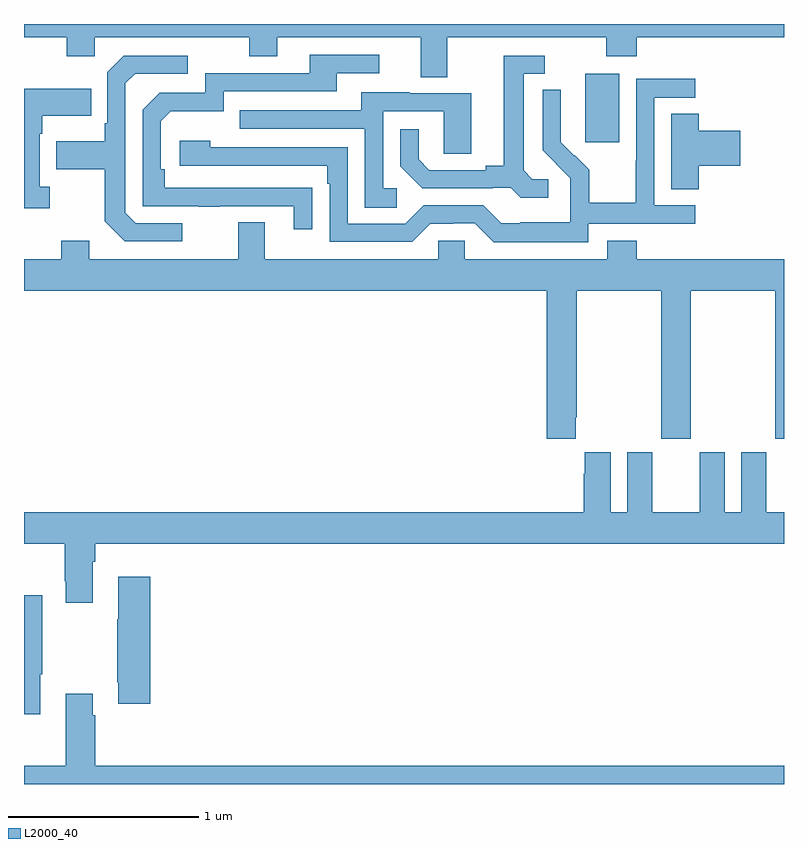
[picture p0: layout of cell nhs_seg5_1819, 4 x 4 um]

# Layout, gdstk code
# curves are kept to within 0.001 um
import gdstk
lib = gdstk.Library(unit=1e-6, precision=1e-09)
def R(c, l, rs):  # rectangles x0, y0, x1, y1
    for r in rs: c.add(gdstk.rectangle(r[:2], r[2:], *l))
def P(c, l, *ps):  # polygons
    for p in ps: c.add(gdstk.Polygon(p, *l))
L2000_40 = (2000, 40)

nhs_seg5_1819 = lib.new_cell('nhs_seg5_1819')
R(nhs_seg5_1819, L2000_40, [(221.954,888.177,222.133,888.538)])
P(nhs_seg5_1819, L2000_40, [(221.227,888.728),(222.064,888.728),(222.064,888.629),(222.224,888.629),(222.224,888.728),(223,888.728),(223,888.799),(219,888.799),(219,888.728),(219.226,888.728),(219.226,888.629),(219.372,888.629),(219.372,888.728),(220.186,888.728),(220.186,888.629),(220.333,888.629),(220.333,888.728),(221.087,888.728),(221.087,888.52),(221.227,888.52)],
  [(220.517,887.936),(219.74,887.937),(219.74,888.034),(219.72,888.034),(219.72,888.288),(219.773,888.341),(220.05,888.341),(220.05,888.444),(220.645,888.444),(220.645,888.54),(220.87,888.54),(220.87,888.636),(220.505,888.636),(220.505,888.54),(219.954,888.54),(219.954,888.438),(219.714,888.438),(219.624,888.348),(219.624,887.841),(219.919,887.841),(219.919,887.836),(220.031,887.836),(220.031,887.841),(220.421,887.841),(220.421,887.718),(220.517,887.718)],
  [(221.758,887.982),(221.676,887.982),(221.629,888.029),(221.629,888.537),(221.74,888.537),(221.74,888.633),(221.525,888.633),(221.525,888.053),(221.429,888.053),(221.429,888.03),(221.134,888.03),(221.077,888.087),(221.077,888.244),(220.98,888.244),(220.98,888.05),(221.096,887.934),(221.468,887.934),(221.468,887.937),(221.562,887.937),(221.614,887.885),(221.758,887.885)],
  [(219.832,887.751),(219.588,887.751),(219.534,887.805),(219.534,888.486),(219.585,888.537),(219.862,888.537),(219.862,888.633),(219.525,888.633),(219.438,888.546),(219.438,888.277),(219.426,888.277),(219.426,888.181),(219.169,888.181),(219.169,888.034),(219.426,888.034),(219.426,887.761),(219.531,887.655),(219.832,887.655)],
  [(221.97,887.748),(222.532,887.748),(222.532,887.844),(222.318,887.844),(222.318,888.411),(222.532,888.411),(222.532,888.51),(222.222,888.51),(222.222,888.08),(222.22,888.08),(222.22,887.857),(221.975,887.857),(221.975,888.031),(221.898,888.108),(221.895,888.105),(221.825,888.176),(221.826,888.452),(221.73,888.452),(221.73,888.134),(221.876,887.986),(221.876,887.889),(221.874,887.889),(221.874,887.755),(221.611,887.755),(221.611,887.751),(221.511,887.751),(221.418,887.844),(221.103,887.844),(221.007,887.748),(220.704,887.748),(220.704,888.15),(219.98,888.15),(219.98,888.184),(219.819,888.184),(219.819,888.054),(220.595,888.054),(220.595,887.957),(220.608,887.957),(220.608,887.652),(221.043,887.652),(221.139,887.748),(221.258,887.748),(221.258,887.751),(221.373,887.751),(221.473,887.651),(221.97,887.651)],
  [(219.136,887.942),(219.084,887.942),(219.084,888.221),(219.097,888.221),(219.097,888.317),(219.353,888.317),(219.353,888.457),(219,888.457),(219,887.829),(219.136,887.829)],
  [(220.963,887.934),(220.89,887.934),(220.89,888.339),(221.208,888.339),(221.208,888.115),(221.353,888.115),(221.353,888.435),(221.029,888.435),(221.029,888.439),(220.775,888.439),(220.775,888.345),(220.135,888.345),(220.135,888.249),(220.794,888.249),(220.794,887.833),(220.963,887.833)],
  [(222.551,888.053),(222.769,888.053),(222.769,888.236),(222.551,888.236),(222.551,888.326),(222.407,888.326),(222.407,887.929),(222.551,887.929)],
  [(221.905,886.729),(221.91,886.729),(221.91,887.396),(222.355,887.396),(222.355,886.617),(222.51,886.617),(222.51,887.396),(222.955,887.396),(222.955,886.617),(223,886.617),(223,887.56),(222.224,887.56),(222.224,887.659),(222.071,887.659),(222.071,887.56),(221.319,887.56),(221.319,887.658),(221.181,887.658),(221.181,887.56),(220.267,887.56),(220.267,887.755),(220.127,887.755),(220.127,887.56),(219.343,887.56),(219.343,887.659),(219.196,887.659),(219.196,887.56),(219,887.56),(219,887.396),(221.75,887.396),(221.75,886.617),(221.905,886.617)],
  [(219.361,885.968),(219.374,885.968),(219.374,886.064),(223,886.064),(223,886.228),(222.907,886.228),(222.907,886.546),(222.776,886.546),(222.776,886.228),(222.688,886.228),(222.688,886.546),(222.557,886.546),(222.557,886.228),(222.307,886.228),(222.307,886.546),(222.176,886.546),(222.176,886.228),(222.088,886.228),(222.088,886.546),(221.951,886.546),(221.951,886.433),(221.945,886.433),(221.945,886.228),(219,886.228),(219,886.064),(219.214,886.064),(219.214,885.865),(219.221,885.865),(219.221,885.753),(219.361,885.753)],
  [(219.665,885.889),(219.497,885.889),(219.497,885.665),(219.49,885.665),(219.49,885.334),(219.497,885.334),(219.497,885.222),(219.665,885.222)],
  [(219.085,885.377),(219.097,885.377),(219.097,885.793),(219,885.793),(219,885.165),(219.085,885.165)],
  [(223,884.896),(219.374,884.896),(219.374,885.161),(219.361,885.161),(219.361,885.274),(219.221,885.274),(219.221,884.896),(219,884.896),(219,884.799),(223,884.799)])

lib.write_gds('nhs_seg5_1819.gds')
